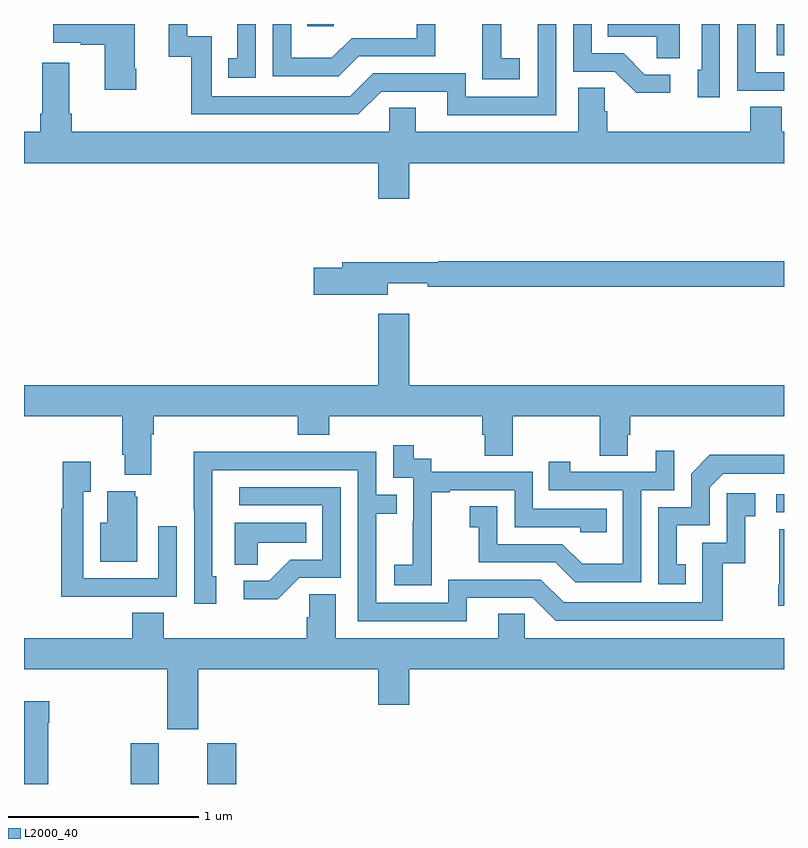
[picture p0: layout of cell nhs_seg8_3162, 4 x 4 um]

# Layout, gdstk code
import gdstk
lib = gdstk.Library(unit=1e-6, precision=1e-09)
def R(c, l, rs):  # rectangles x0, y0, x1, y1
    for r in rs: c.add(gdstk.rectangle(r[:2], r[2:], *l))
def P(c, l, *ps):  # polygons
    for p in ps: c.add(gdstk.Polygon(p, *l))
L2000_40 = (2000, 40)

nhs_seg8_3162 = lib.new_cell('nhs_seg8_3162')
R(nhs_seg8_3162, L2000_40, [(307.561,1111.9,307.708,1112.115), (307.964,1111.9,308.117,1112.115), (310.959,1113.33,311,1113.426), (310.961,1115.735,311,1115.9), (308.491,1115.889,308.631,1115.9)])
P(nhs_seg8_3162, L2000_40, [(308.761,1115.73),(309.165,1115.73),(309.165,1115.9),(309.066,1115.9),(309.066,1115.826),(308.724,1115.826),(308.62,1115.722),(308.406,1115.722),(308.406,1115.9),(308.31,1115.9),(308.31,1115.625),(308.656,1115.625)],
  [(310.402,1115.634),(310.267,1115.634),(310.156,1115.745),(309.987,1115.745),(309.987,1115.9),(309.891,1115.9),(309.891,1115.649),(310.11,1115.649),(310.223,1115.537),(310.402,1115.537)],
  [(311,1115.646),(310.851,1115.646),(310.851,1115.9),(310.755,1115.9),(310.755,1115.55),(311,1115.55)],
  [(309.801,1115.9),(309.705,1115.9),(309.705,1115.517),(309.324,1115.517),(309.324,1115.64),(308.838,1115.64),(308.718,1115.52),(307.989,1115.52),(307.989,1115.835),(307.86,1115.835),(307.86,1115.9),(307.763,1115.9),(307.763,1115.727),(307.881,1115.727),(307.881,1115.424),(308.76,1115.424),(308.88,1115.544),(309.227,1115.544),(309.227,1115.421),(309.801,1115.421)],
  [(309.61,1115.719),(309.512,1115.719),(309.512,1115.9),(309.413,1115.9),(309.413,1115.815),(309.412,1115.815),(309.412,1115.609),(309.61,1115.609)],
  [(310.45,1115.9),(310.072,1115.9),(310.072,1115.834),(310.329,1115.834),(310.329,1115.719),(310.45,1115.719)],
  [(307.59,1115.665),(307.582,1115.665),(307.582,1115.9),(307.155,1115.9),(307.155,1115.801),(307.298,1115.801),(307.298,1115.791),(307.424,1115.791),(307.424,1115.553),(307.59,1115.553)],
  [(310.662,1115.9),(310.566,1115.9),(310.566,1115.658),(310.547,1115.658),(310.547,1115.514),(310.662,1115.514)],
  [(308.22,1115.9),(308.123,1115.9),(308.123,1115.721),(308.074,1115.721),(308.074,1115.616),(308.22,1115.616)],
  [(311,1115.332),(310.988,1115.332),(310.988,1115.465),(310.823,1115.465),(310.823,1115.332),(310.07,1115.332),(310.07,1115.441),(310.056,1115.441),(310.056,1115.564),(309.917,1115.564),(309.917,1115.332),(309.061,1115.332),(309.061,1115.459),(308.922,1115.459),(308.922,1115.332),(307.25,1115.332),(307.25,1115.428),(307.237,1115.428),(307.237,1115.695),(307.097,1115.695),(307.097,1115.428),(307.085,1115.428),(307.085,1115.332),(307,1115.332),(307,1115.168),(308.864,1115.168),(308.864,1114.98),(309.028,1114.98),(309.028,1115.168),(311,1115.168)],
  [(308.914,1114.535),(309.124,1114.535),(309.124,1114.516),(311,1114.516),(311,1114.652),(309.179,1114.652),(309.179,1114.645),(308.675,1114.645),(308.675,1114.616),(308.526,1114.616),(308.526,1114.474),(308.914,1114.474)],
  [(309.028,1114.375),(308.864,1114.375),(308.864,1114),(307,1114),(307,1113.836),(307.517,1113.836),(307.517,1113.634),(307.529,1113.634),(307.529,1113.527),(307.669,1113.527),(307.669,1113.74),(307.682,1113.74),(307.682,1113.836),(308.441,1113.836),(308.441,1113.737),(308.606,1113.737),(308.606,1113.836),(309.413,1113.836),(309.413,1113.738),(309.425,1113.738),(309.425,1113.628),(309.573,1113.628),(309.573,1113.836),(310.03,1113.836),(310.03,1113.628),(310.177,1113.628),(310.177,1113.738),(310.19,1113.738),(310.19,1113.836),(311,1113.836),(311,1114),(309.028,1114)],
  [(309.147,1113.151),(309.146,1113.151),(309.146,1113.435),(309.241,1113.435),(309.241,1113.447),(309.582,1113.447),(309.582,1113.252),(309.927,1113.252),(309.927,1113.225),(310.067,1113.225),(310.067,1113.348),(309.678,1113.348),(309.678,1113.543),(309.144,1113.543),(309.144,1113.612),(309.052,1113.612),(309.052,1113.682),(308.943,1113.682),(308.943,1113.513),(309.048,1113.513),(309.048,1113.284),(309.047,1113.284),(309.047,1113.055),(308.949,1113.055),(308.949,1112.945),(309.147,1112.945)],
  [(310.248,1113.447),(310.422,1113.447),(310.422,1113.655),(310.325,1113.655),(310.325,1113.543),(309.874,1113.543),(309.874,1113.595),(309.763,1113.595),(309.763,1113.447),(310.152,1113.447),(310.152,1113.058),(309.938,1113.058),(309.834,1113.162),(309.492,1113.162),(309.492,1113.361),(309.345,1113.361),(309.345,1113.251),(309.394,1113.251),(309.394,1113.066),(309.797,1113.066),(309.902,1112.961),(310.248,1112.961)],
  [(309.331,1112.88),(309.678,1112.88),(309.798,1112.76),(310.678,1112.76),(310.678,1113.063),(310.796,1113.063),(310.796,1113.309),(310.849,1113.309),(310.849,1113.43),(310.698,1113.43),(310.698,1113.171),(310.569,1113.171),(310.569,1112.856),(309.84,1112.856),(309.72,1112.976),(309.234,1112.976),(309.234,1112.853),(308.853,1112.853),(308.853,1113.322),(308.963,1113.322),(308.963,1113.423),(308.853,1113.423),(308.853,1113.648),(308.357,1113.648),(308.357,1113.65),(307.894,1113.65),(307.894,1113.343),(307.896,1113.343),(307.896,1112.85),(308.011,1112.85),(308.011,1112.994),(307.992,1112.994),(307.992,1113.552),(308.757,1113.552),(308.757,1112.757),(309.331,1112.757)],
  [(310.484,1113.057),(310.435,1113.057),(310.435,1113.261),(310.608,1113.261),(310.608,1113.462),(310.68,1113.534),(311,1113.534),(311,1113.632),(310.61,1113.632),(310.512,1113.534),(310.512,1113.357),(310.338,1113.357),(310.338,1112.952),(310.484,1112.952)],
  [(307.487,1112.886),(307.803,1112.886),(307.803,1113.256),(307.707,1113.256),(307.707,1112.982),(307.311,1112.982),(307.311,1113.439),(307.351,1113.439),(307.351,1113.595),(307.203,1113.595),(307.203,1113.35),(307.195,1113.35),(307.195,1112.885),(307.487,1112.885)],
  [(308.448,1112.985),(308.667,1112.985),(308.667,1113.462),(308.133,1113.462),(308.133,1113.366),(308.571,1113.366),(308.571,1113.081),(308.402,1113.081),(308.291,1112.97),(308.157,1112.97),(308.157,1112.873),(308.335,1112.873)],
  [(307.597,1113.411),(307.586,1113.411),(307.586,1113.442),(307.439,1113.442),(307.439,1113.274),(307.4,1113.274),(307.4,1113.071),(307.597,1113.071)],
  [(308.229,1113.17),(308.486,1113.17),(308.486,1113.274),(308.108,1113.274),(308.108,1113.055),(308.229,1113.055)],
  [(311,1113.241),(310.976,1113.241),(310.976,1112.95),(310.969,1112.95),(310.969,1112.838),(311,1112.838)],
  [(307.918,1112.504),(308.864,1112.504),(308.864,1112.316),(309.028,1112.316),(309.028,1112.504),(311,1112.504),(311,1112.668),(309.636,1112.668),(309.636,1112.795),(309.497,1112.795),(309.497,1112.668),(308.641,1112.668),(308.641,1112.9),(308.502,1112.9),(308.502,1112.777),(308.489,1112.777),(308.489,1112.668),(307.736,1112.668),(307.736,1112.801),(307.571,1112.801),(307.571,1112.668),(307,1112.668),(307,1112.504),(307.754,1112.504),(307.754,1112.187),(307.918,1112.187)],
  [(307.128,1112.222),(307.133,1112.222),(307.133,1112.335),(307,1112.335),(307,1111.9),(307.128,1111.9)])

lib.write_gds('nhs_seg8_3162.gds')
